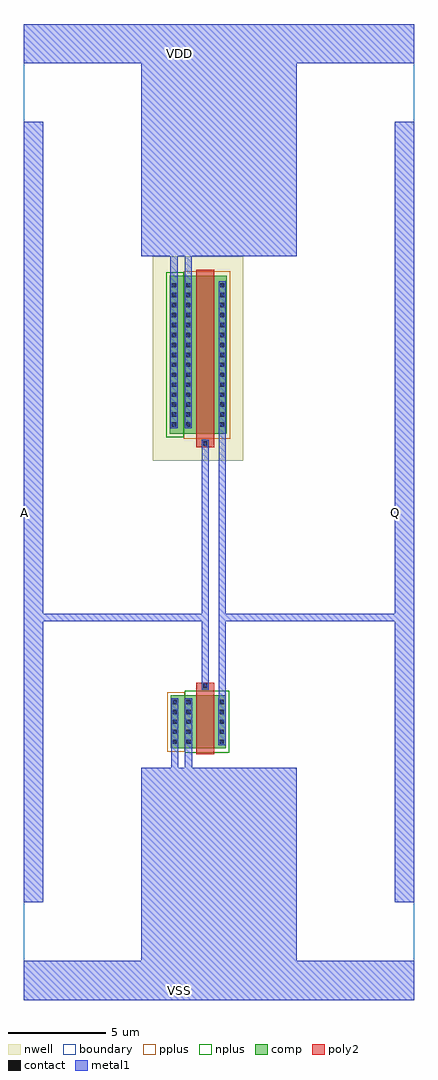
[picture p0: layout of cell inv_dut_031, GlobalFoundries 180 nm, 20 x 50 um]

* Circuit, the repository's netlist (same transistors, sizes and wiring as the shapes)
* inv_dut_031: pfet_03v3 W=8.10u L=0.90u / nfet_03v3 W=2.70u L=0.90u
.SUBCKT inv_dut_031 A Q VDD VSS
MMP Q A VDD VDD pfet_03v3 W=8.10u L=0.90u
MMN Q A VSS VSS nfet_03v3 W=2.70u L=0.90u
.ENDS

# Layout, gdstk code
import gdstk
lib = gdstk.Library(unit=1e-6, precision=1e-09)
def R(c, l, rs):  # rectangles x0, y0, x1, y1
    for r in rs: c.add(gdstk.rectangle(r[:2], r[2:], *l))
def A(c, l, x, y, w, h, nx, ny, dx, dy):  # array of equal rectangles
    R(c, l, [(x+i*dx, y+j*dy, x+i*dx+w, y+j*dy+h) for i in range(nx) for j in range(ny)])
boundary = (0, 0)
nwell = (21, 0)
comp = (22, 0)
poly2 = (30, 0)
pplus = (31, 0)
nplus = (32, 0)
contact = (33, 0)
metal1 = (34, 0)

inv_dut_031 = lib.new_cell('inv_dut_031')
R(inv_dut_031, boundary, [(-10,-25,10,25)])
R(inv_dut_031, nwell, [(-3.395,2.63,1.255,13.09)])
R(inv_dut_031, comp, [(-2.475,-12.1,0.355,-9.4), (-2.535,4,0.395,12.1)])
R(inv_dut_031, poly2, [(-1.155,-12.4,-0.255,-8.74), (-1.155,3.32,-0.255,12.4)])
R(inv_dut_031, pplus, [(-2.645,-12.27,-1.765,-9.23), (-1.805,3.76,0.565,12.34)])
R(inv_dut_031, nplus, [(-1.765,-12.34,0.525,-9.16), (-2.705,3.83,-1.805,12.27)])
A(inv_dut_031, contact, -2.375, -11.88, 0.22, 0.22, 1, 5, 0, 0.51)
A(inv_dut_031, contact, -1.665, -11.88, 0.22, 0.22, 1, 5, 0, 0.51)
A(inv_dut_031, contact, 0.035, -11.88, 0.22, 0.22, 1, 5, 0, 0.51)
A(inv_dut_031, contact, -2.415, 4.37, 0.22, 0.22, 1, 15, 0, 0.51)
A(inv_dut_031, contact, -1.685, 4.37, 0.22, 0.22, 1, 15, 0, 0.51)
A(inv_dut_031, contact, 0.055, 4.37, 0.22, 0.22, 1, 15, 0, 0.51)
R(inv_dut_031, contact, [(-0.815,-9.03,-0.595,-8.81), (-0.815,3.4,-0.595,3.62)])
R(inv_dut_031, metal1, [(-10,-25,10,-23), (-3.995,-23,3.995,-13.4), (-10,-20,-9,20), (9,-20,10,20), (-3.995,-13.7,3.995,-13.1), (-2.455,-13.7,-2.075,-9.54), (-1.745,-13.7,-1.365,-9.54), (-2.455,-11.96,-2.075,-9.54), (-1.745,-11.96,-1.365,-9.54), (-0.045,-11.96,0.335,-9.54), (-0.045,-9.92,0.355,-9.54), (-0.025,-9.92,0.355,4.67), (-0.895,-9.11,-0.515,3.7), (-0.895,-9.11,-0.515,-8.73), (-9,-5.6,-3.695,-5.2), (-3.995,-5.6,-0.515,-5.2), (-0.025,-5.6,3.995,-5.2), (3.695,-5.6,9,-5.2), (-0.895,3.32,-0.515,3.7), (-2.495,4.29,-2.115,13.7), (-2.495,4.29,-2.115,11.81), (-1.765,4.29,-1.385,13.7), (-1.765,4.29,-1.385,11.81), (-0.025,4.29,0.355,4.67), (-0.025,4.29,0.355,11.81), (-3.995,13.1,3.995,13.7), (-3.995,13.4,3.995,23), (-10,23,10,25)])
inv_dut_031.add(gdstk.Label('VDD', (-2,23.5), layer=34, texttype=10))
inv_dut_031.add(gdstk.Label('VSS', (-2,-24.5), layer=34, texttype=10))
inv_dut_031.add(gdstk.Label('A', (-9.97,0), layer=34, texttype=10))
inv_dut_031.add(gdstk.Label('Q', (9.03,0), layer=34, texttype=10))

lib.write_gds('inv_dut_031.gds')
